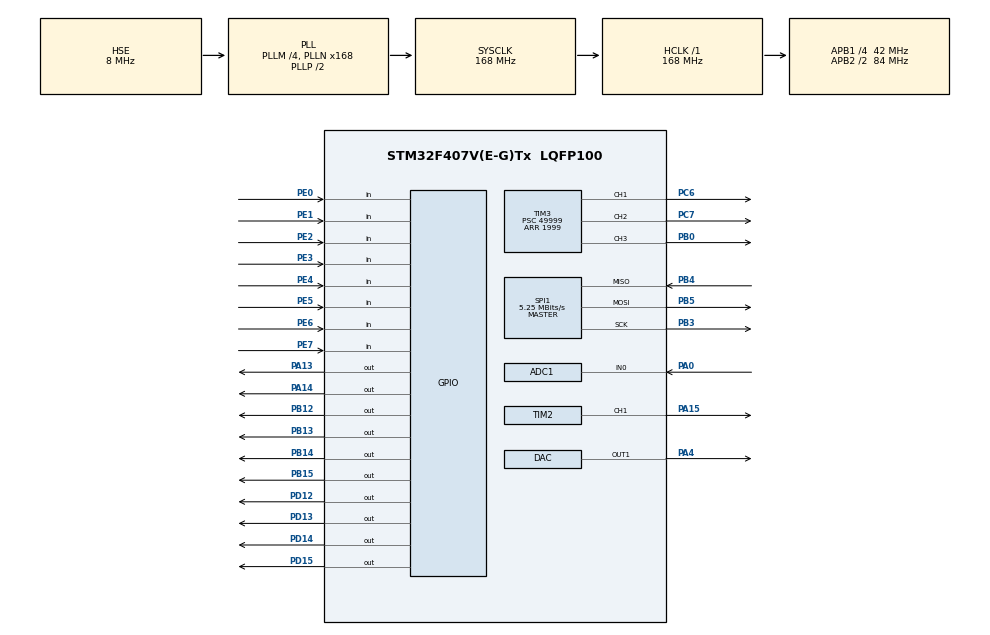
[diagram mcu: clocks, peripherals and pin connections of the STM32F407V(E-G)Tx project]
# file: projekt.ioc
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ADC1.Channel-0\#ChannelRegularConversion=ADC_CHANNEL_0
ADC1.NbrOfConversionFlag=1
ADC1.Rank-0\#ChannelRegularConversion=1
ADC1.SamplingTime-0\#ChannelRegularConversion=ADC_SAMPLETIME_3CYCLES
ADC1.master=1
Mcu.Family=STM32F4
Mcu.Name=STM32F407V(E-G)Tx
Mcu.Package=LQFP100
NVIC.PriorityGroup=NVIC_PRIORITYGROUP_4
NVIC.RCC_IRQn=true\:0\:0\:false\:false\:true\:true\:false
NVIC.TIM3_IRQn=true\:0\:0\:false\:false\:true\:true\:true
NVIC.TIM4_IRQn=true\:0\:0\:false\:false\:true\:true\:true
PA0-WKUP.Signal=ADCx_IN0
PA13.Signal=GPIO_Output
PA14.Signal=GPIO_Output
PA15.Signal=S_TIM2_CH1_ETR
PA4.Signal=COMP_DAC1_group
PB0.Signal=S_TIM3_CH3
PB12.Signal=GPIO_Output
PB13.Signal=GPIO_Output
PB14.Signal=GPIO_Output
PB15.Signal=GPIO_Output
PB3.Mode=Full_Duplex_Master
PB3.Signal=SPI1_SCK
PB4.Mode=Full_Duplex_Master
PB4.Signal=SPI1_MISO
PB5.Mode=Full_Duplex_Master
PB5.Signal=SPI1_MOSI
PC6.Signal=S_TIM3_CH1
PC7.Signal=S_TIM3_CH2
PD12.Signal=GPIO_Output
PD13.Signal=GPIO_Output
PD14.Signal=GPIO_Output
PD15.Signal=GPIO_Output
PE0.GPIO_PuPd=GPIO_PULLUP
PE0.Signal=GPIO_Input
PE1.GPIO_PuPd=GPIO_PULLUP
PE1.Signal=GPIO_Input
PE2.GPIO_PuPd=GPIO_PULLUP
PE2.Signal=GPIO_Input
PE3.GPIO_PuPd=GPIO_PULLUP
PE3.Signal=GPIO_Input
PE4.GPIO_PuPd=GPIO_PULLUP
PE4.Signal=GPIO_Input
PE5.GPIO_PuPd=GPIO_PULLUP
PE5.Signal=GPIO_Input
PE6.GPIO_PuPd=GPIO_PULLUP
PE6.Signal=GPIO_Input
PE7.GPIO_PuPd=GPIO_PULLUP
PE7.Signal=GPIO_Input
PH0-OSC_IN.Mode=HSE-External-Oscillator
PH0-OSC_IN.Signal=RCC_OSC_IN
PH1-OSC_OUT.Mode=HSE-External-Oscillator
PH1-OSC_OUT.Signal=RCC_OSC_OUT
ProjectManager.HeapSize=0x200
ProjectManager.StackSize=0x400
ProjectManager.TargetToolchain=STM32CubeIDE
RCC.48MHZClocksFreq_Value=84000000
RCC.AHBFreq_Value=168000000
RCC.APB1CLKDivider=RCC_HCLK_DIV4
RCC.APB1Freq_Value=42000000
RCC.APB1TimFreq_Value=84000000
RCC.APB2CLKDivider=RCC_HCLK_DIV2
RCC.APB2Freq_Value=84000000
RCC.APB2TimFreq_Value=168000000
RCC.CortexFreq_Value=168000000
RCC.HCLKFreq_Value=168000000
RCC.HSE_VALUE=8000000
RCC.HSI_VALUE=16000000
RCC.LSE_VALUE=32768
RCC.PLLM=4
RCC.PLLN=168
RCC.PLLSourceVirtual=RCC_PLLSOURCE_HSE
RCC.SYSCLKFreq_VALUE=168000000
RCC.SYSCLKSource=RCC_SYSCLKSOURCE_PLLCLK
RCC.VCOOutputFreq_Value=336000000
SH.ADCx_IN0.0=ADC1_IN0,IN0
SH.COMP_DAC1_group.0=DAC_OUT1,DAC_OUT1
SH.S_TIM2_CH1_ETR.0=TIM2_CH1,PWM Generation1 CH1
SH.S_TIM3_CH1.0=TIM3_CH1,PWM Generation1 CH1
SH.S_TIM3_CH2.0=TIM3_CH2,PWM Generation2 CH2
SH.S_TIM3_CH3.0=TIM3_CH3,PWM Generation3 CH3
SPI1.BaudRatePrescaler=SPI_BAUDRATEPRESCALER_16
SPI1.CalculateBaudRate=5.25 MBits/s
SPI1.Direction=SPI_DIRECTION_2LINES
SPI1.Mode=SPI_MODE_MASTER
SPI1.VirtualType=VM_MASTER
TIM2.Channel-PWM\ Generation1\ CH1=TIM_CHANNEL_1
TIM2.Period=20999
TIM2.Prescaler=3999
TIM3.Channel-PWM\ Generation1\ CH1=TIM_CHANNEL_1
TIM3.Channel-PWM\ Generation2\ CH2=TIM_CHANNEL_2
TIM3.Channel-PWM\ Generation3\ CH3=TIM_CHANNEL_3
TIM3.Period=1999
TIM3.Prescaler=49999
TIM4.Period=1999
TIM4.Prescaler=41999
VP_TIM2_VS_ClockSourceINT.Mode=Internal
VP_TIM3_VS_ClockSourceINT.Mode=Internal
VP_TIM4_VS_ClockSourceINT.Mode=Internal
board=custom

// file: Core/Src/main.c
/* USER CODE BEGIN Header */
/**
  ******************************************************************************
  * @file           : main.c
  * @brief          : Main program body
  ******************************************************************************
  * @attention
  *
  * <h2><center>&copy; Copyright (c) 2020 STMicroelectronics.
  * All rights reserved.</center></h2>
  *
  * This software component is licensed by ST under BSD 3-Clause license,
  * the "License"; You may not use this file except in compliance with the
  * License. You may obtain a copy of the License at:
  *                        opensource.org/licenses/BSD-3-Clause
  *
  ******************************************************************************
  */
/* USER CODE END Header */

#include "main.h"

/* USER CODE BEGIN Includes */
#include "ff.h"
extern const uint8_t rawAudio[123200];
/* USER CODE END Includes */

ADC_HandleTypeDef hadc1;

DAC_HandleTypeDef hdac;

SPI_HandleTypeDef hspi1;

TIM_HandleTypeDef htim2;
TIM_HandleTypeDef htim3;
TIM_HandleTypeDef htim4;

/* USER CODE BEGIN PV */
uint16_t adc_value;
volatile int x=0;
volatile int y=0;
volatile int z=100;
volatile int wybor=-1;

/*-------------Zmienne potrzebne do zapisu i odczytu na kacie pamieci-------------------------------*/
/*char buffer[256]; //bufor odczytu i zapisu
static FATFS FatFs; //uchwyt do urządzenia FatFs (dysku, karty SD...)
FRESULT fresult; //do przechowywania wyniku operacji na bibliotece FatFs
FIL file; //uchwyt do otwartego pliku
WORD bytes_written; //liczba zapisanych byte
WORD bytes_read; //liczba odczytanych byte*/
/* USER CODE END PV */

void SystemClock_Config(void);
static void MX_GPIO_Init(void);
static void MX_TIM4_Init(void);
static void MX_TIM3_Init(void);
static void MX_TIM2_Init(void);
static void MX_DAC_Init(void);
static void MX_ADC1_Init(void);
static void MX_SPI1_Init(void);
/* USER CODE BEGIN PFP */
/*---------------------Zapis na karte SD-----------------------*/
/*void writeSD()
{
	fresult = f_mount(&FatFs, "", 0);
	fresult = f_open(&file, "write.txt", FA_OPEN_ALWAYS | FA_WRITE);
	int len = sprintf( buffer, "Hello PTM!\r\n");
	fresult = f_write(&file, buffer, len, &bytes_written);
	fresult = f_close (&file);
}*/

/*---------------------Odczyt na karcie SD-----------------------*/
/*void readSD()
{
	fresult = f_mount(&FatFs, "", 0);
	fresult = f_open(&file, "read.txt", FA_READ);
	fresult = f_read(&file, buffer, 16, &bytes_read);
	fresult = f_close(&file);

}
*/

/*--------------------Odczyt z mikrofonu------------------*/
void HAL_TIM_PeriodElapsedCallback(TIM_HandleTypeDef*htim)
{
	if(htim->Instance== TIM4)
	{
		HAL_ADC_Start(&hadc1);
			  if(HAL_ADC_PollForConversion(&hadc1, 10) == HAL_OK)
			  {
				  adc_value = HAL_ADC_GetValue(&hadc1);
				  x = (2.95/(double)4096) * adc_value;
			  }
	}
}

/*-------------------Konfiguracja diody RGB1----------------------------*/
void rgb1_set(uint8_t red, uint8_t blue, uint8_t green)
{
	htim3.Instance->CCR1=red*2000;
	htim3.Instance->CCR2=blue*2000;
	htim3.Instance->CCR3=green*2000;
}

/*-------------------Ustalenie koloru diody RGB1 zaleznie od przypadku----------------------------*/
void rgb1_set_color()
{
	/*do zrobienia:
	 dac przypadki i oznaczyc kolor*/
	rgb1_set(255,0,0);
	HAL_Delay(100); //wykorzystywane bylo podczas sprawdzania, czy dobrze swieci dioda
	rgb1_set(0,255,0);
	HAL_Delay(100);
	rgb1_set(0,0,255);
	HAL_Delay(100);
	rgb1_set(255,0,255);
	HAL_Delay(100);
	rgb1_set(0,255,255);
	HAL_Delay(100);
	rgb1_set(255,255,0);
}

/*-------------------Konfiguracja diody RGB2----------------------------*/

void rgb2_set(uint8_t red)
{
	htim2.Instance->CCR1=red*2000;
}

/*-------Ustalenie jasnosci diody  RGB2 zaleznie od głosnosci lub czestotliwosci
 *  odbieranego dźwięku------*/
//do zrobienia
void rgb2_set_intensity()
{
rgb2_set(255);

}
//ciag dalszy to nizej skomentowane na chwilke

/*-----Proba ustawienia janosci diody--------------*/
/*void HAL_TIM_PeriodElapsedCallback(TIM_HandleTypeDef*htim)
{
	if(htim->Instance== TIM2)
		{
		rgb2_set(255);
		y=100;
switch(x)
	{

	case 0:
		TIM2->CCR1=2100;
		x++;
		break;
	case 1:
		TIM2->CCR1=2100-2*y;
		x++;
		break;
	case 2:
		TIM2->CCR1=2100-4*y;
			x++;
			break;
	case 3:
		TIM2->CCR1=2100-6*y;
			x++;
			break;
	case 4:
		TIM2->CCR1=2100-8*y;
			x++;
			break;
	case 5:
		TIM2->CCR1=2100-10*y;
			x=0;
			break;
			}
		}
}
*/
/*----------Czytanie z przyciskow---------------*/
void read_bottoms()
{

	  	 if (HAL_GPIO_ReadPin(GPIOE, GPIO_PIN_0)==GPIO_PIN_RESET)
	  	 	  	 			  	  	{wybor=0;}
	  	 if (HAL_GPIO_ReadPin(GPIOE, GPIO_PIN_1)==GPIO_PIN_RESET)
	  	 	  	  	 			  	{wybor=1;}
	  	 if (HAL_GPIO_ReadPin(GPIOE, GPIO_PIN_2)==GPIO_PIN_RESET)
	  		  	  	  	  	 		{wybor=2;}
	  	 if (HAL_GPIO_ReadPin(GPIOE, GPIO_PIN_3)==GPIO_PIN_RESET)
	  		  	  	 	  	  	 	{wybor=3;}
	  	 if (HAL_GPIO_ReadPin(GPIOE, GPIO_PIN_4)==GPIO_PIN_RESET)
	  	  	  	  	  	 			{wybor=4;}
	  	 if (HAL_GPIO_ReadPin(GPIOE, GPIO_PIN_5)==GPIO_PIN_RESET)
	  	  	  	 	  	  	 		{wybor=5;}
	  	 if (HAL_GPIO_ReadPin(GPIOE, GPIO_PIN_6)==GPIO_PIN_RESET)
	  	  	  		  	  	  	  	 {wybor=6;}
	  	 if (HAL_GPIO_ReadPin(GPIOE, GPIO_PIN_7)==GPIO_PIN_RESET)
	  	  	  		  	  	 	  	 {wybor=7;}

	  switch(wybor)
	  	  {				case 0: { HAL_GPIO_WritePin(GPIOD, GPIO_PIN_12, SET); break;}
	  	  				case 1: { HAL_GPIO_WritePin(GPIOD, GPIO_PIN_12, RESET); break;}
	  	  				case 2: { HAL_GPIO_WritePin(GPIOD, GPIO_PIN_13, SET); break;}
	  	  				case 3: { HAL_GPIO_WritePin(GPIOD, GPIO_PIN_13, RESET); break;}
	  	  	  	  	  	case 4: { HAL_GPIO_WritePin(GPIOD, GPIO_PIN_14, SET); break;}
		  	  	  	case 5: { HAL_GPIO_WritePin(GPIOD, GPIO_PIN_14, RESET); break;}
	  					case 6: { HAL_GPIO_WritePin(GPIOD, GPIO_PIN_15, SET); break;}
	  					case 7: { HAL_GPIO_WritePin(GPIOD, GPIO_PIN_15, RESET); break;}
	  					default: {HAL_GPIO_WritePin(GPIOD, GPIO_PIN_12|GPIO_PIN_13|GPIO_PIN_14|GPIO_PIN_15, RESET);
	  					break;}

	  	  }
}

/* USER CODE END PFP */

int main(void)
{

  /* MCU Configuration--------------------------------------------------------*/

  /* Reset of all peripherals, Initializes the Flash interface and the Systick. */
  HAL_Init();

  /* Configure the system clock */
  SystemClock_Config();

  /* Initialize all configured peripherals */
  MX_GPIO_Init();
  MX_TIM4_Init();
  MX_TIM3_Init();
  MX_TIM2_Init();
  MX_DAC_Init();
  MX_ADC1_Init();
  MX_SPI1_Init();
  /* USER CODE BEGIN 2 */
HAL_TIM_PWM_Start(&htim3, TIM_CHANNEL_1);
HAL_TIM_PWM_Start(&htim3, TIM_CHANNEL_2);
HAL_TIM_PWM_Start(&htim3, TIM_CHANNEL_3);
HAL_TIM_PWM_Start(&htim2, TIM_CHANNEL_1);
HAL_DAC_Start(&hdac,DAC_CHANNEL_1);
  /* USER CODE END 2 */

  /* Infinite loop */
  /* USER CODE BEGIN WHILE */
  while (1)
  {
	  HAL_DAC_SetValue(&hdac,DAC_CHANNEL_1,DAC_ALIGN_12B_R,2048);
    /* USER CODE END WHILE */

    /* USER CODE BEGIN 3 */

	  // writeSD();
	 // readSD();

	  rgb1_set_color();

  }
  /* USER CODE END 3 */
}

void SystemClock_Config(void)
{
  RCC_OscInitTypeDef RCC_OscInitStruct = {0};
  RCC_ClkInitTypeDef RCC_ClkInitStruct = {0};

  /** Configure the main internal regulator output voltage
  */
  __HAL_RCC_PWR_CLK_ENABLE();
  __HAL_PWR_VOLTAGESCALING_CONFIG(PWR_REGULATOR_VOLTAGE_SCALE1);
  /** Initializes the CPU, AHB and APB busses clocks
  */
  RCC_OscInitStruct.OscillatorType = RCC_OSCILLATORTYPE_HSE;
  RCC_OscInitStruct.HSEState = RCC_HSE_ON;
  RCC_OscInitStruct.PLL.PLLState = RCC_PLL_ON;
  RCC_OscInitStruct.PLL.PLLSource = RCC_PLLSOURCE_HSE;
  RCC_OscInitStruct.PLL.PLLM = 4;
  RCC_OscInitStruct.PLL.PLLN = 168;
  RCC_OscInitStruct.PLL.PLLP = RCC_PLLP_DIV2;
  RCC_OscInitStruct.PLL.PLLQ = 4;
  if (HAL_RCC_OscConfig(&RCC_OscInitStruct) != HAL_OK)
  {
    Error_Handler();
  }
  /** Initializes the CPU, AHB and APB busses clocks
  */
  RCC_ClkInitStruct.ClockType = RCC_CLOCKTYPE_HCLK|RCC_CLOCKTYPE_SYSCLK
                              |RCC_CLOCKTYPE_PCLK1|RCC_CLOCKTYPE_PCLK2;
  RCC_ClkInitStruct.SYSCLKSource = RCC_SYSCLKSOURCE_PLLCLK;
  RCC_ClkInitStruct.AHBCLKDivider = RCC_SYSCLK_DIV1;
  RCC_ClkInitStruct.APB1CLKDivider = RCC_HCLK_DIV4;
  RCC_ClkInitStruct.APB2CLKDivider = RCC_HCLK_DIV2;

  if (HAL_RCC_ClockConfig(&RCC_ClkInitStruct, FLASH_LATENCY_5) != HAL_OK)
  {
    Error_Handler();
  }
}

static void MX_ADC1_Init(void)
{

  ADC_ChannelConfTypeDef sConfig = {0};

  /** Configure the global features of the ADC (Clock, Resolution, Data Alignment and number of conversion)
  */
  hadc1.Instance = ADC1;
  hadc1.Init.ClockPrescaler = ADC_CLOCK_SYNC_PCLK_DIV4;
  hadc1.Init.Resolution = ADC_RESOLUTION_12B;
  hadc1.Init.ScanConvMode = DISABLE;
  hadc1.Init.ContinuousConvMode = DISABLE;
  hadc1.Init.DiscontinuousConvMode = DISABLE;
  hadc1.Init.ExternalTrigConvEdge = ADC_EXTERNALTRIGCONVEDGE_NONE;
  hadc1.Init.ExternalTrigConv = ADC_SOFTWARE_START;
  hadc1.Init.DataAlign = ADC_DATAALIGN_RIGHT;
  hadc1.Init.NbrOfConversion = 1;
  hadc1.Init.DMAContinuousRequests = DISABLE;
  hadc1.Init.EOCSelection = ADC_EOC_SINGLE_CONV;
  if (HAL_ADC_Init(&hadc1) != HAL_OK)
  {
    Error_Handler();
  }
  /** Configure for the selected ADC regular channel its corresponding rank in the sequencer and its sample time.
  */
  sConfig.Channel = ADC_CHANNEL_0;
  sConfig.Rank = 1;
  sConfig.SamplingTime = ADC_SAMPLETIME_3CYCLES;
  if (HAL_ADC_ConfigChannel(&hadc1, &sConfig) != HAL_OK)
  {
    Error_Handler();
  }

}

static void MX_DAC_Init(void)
{

  DAC_ChannelConfTypeDef sConfig = {0};

  /** DAC Initialization
  */
  hdac.Instance = DAC;
  if (HAL_DAC_Init(&hdac) != HAL_OK)
  {
    Error_Handler();
  }
  /** DAC channel OUT1 config
  */
  sConfig.DAC_Trigger = DAC_TRIGGER_NONE;
  sConfig.DAC_OutputBuffer = DAC_OUTPUTBUFFER_ENABLE;
  if (HAL_DAC_ConfigChannel(&hdac, &sConfig, DAC_CHANNEL_1) != HAL_OK)
  {
    Error_Handler();
  }

}

static void MX_SPI1_Init(void)
{

  /* SPI1 parameter configuration*/
  hspi1.Instance = SPI1;
  hspi1.Init.Mode = SPI_MODE_MASTER;
  hspi1.Init.Direction = SPI_DIRECTION_2LINES;
  hspi1.Init.DataSize = SPI_DATASIZE_8BIT;
  hspi1.Init.CLKPolarity = SPI_POLARITY_LOW;
  hspi1.Init.CLKPhase = SPI_PHASE_1EDGE;
  hspi1.Init.NSS = SPI_NSS_SOFT;
  hspi1.Init.BaudRatePrescaler = SPI_BAUDRATEPRESCALER_16;
  hspi1.Init.FirstBit = SPI_FIRSTBIT_MSB;
  hspi1.Init.TIMode = SPI_TIMODE_DISABLE;
  hspi1.Init.CRCCalculation = SPI_CRCCALCULATION_DISABLE;
  hspi1.Init.CRCPolynomial = 10;
  if (HAL_SPI_Init(&hspi1) != HAL_OK)
  {
    Error_Handler();
  }

}

static void MX_TIM2_Init(void)
{

  TIM_ClockConfigTypeDef sClockSourceConfig = {0};
  TIM_MasterConfigTypeDef sMasterConfig = {0};
  TIM_OC_InitTypeDef sConfigOC = {0};

  htim2.Instance = TIM2;
  htim2.Init.Prescaler = 3999;
  htim2.Init.CounterMode = TIM_COUNTERMODE_UP;
  htim2.Init.Period = 20999;
  htim2.Init.ClockDivision = TIM_CLOCKDIVISION_DIV1;
  htim2.Init.AutoReloadPreload = TIM_AUTORELOAD_PRELOAD_DISABLE;
  if (HAL_TIM_Base_Init(&htim2) != HAL_OK)
  {
    Error_Handler();
  }
  sClockSourceConfig.ClockSource = TIM_CLOCKSOURCE_INTERNAL;
  if (HAL_TIM_ConfigClockSource(&htim2, &sClockSourceConfig) != HAL_OK)
  {
    Error_Handler();
  }
  if (HAL_TIM_PWM_Init(&htim2) != HAL_OK)
  {
    Error_Handler();
  }
  sMasterConfig.MasterOutputTrigger = TIM_TRGO_RESET;
  sMasterConfig.MasterSlaveMode = TIM_MASTERSLAVEMODE_DISABLE;
  if (HAL_TIMEx_MasterConfigSynchronization(&htim2, &sMasterConfig) != HAL_OK)
  {
    Error_Handler();
  }
  sConfigOC.OCMode = TIM_OCMODE_PWM1;
  sConfigOC.Pulse = 0;
  sConfigOC.OCPolarity = TIM_OCPOLARITY_HIGH;
  sConfigOC.OCFastMode = TIM_OCFAST_DISABLE;
  if (HAL_TIM_PWM_ConfigChannel(&htim2, &sConfigOC, TIM_CHANNEL_1) != HAL_OK)
  {
    Error_Handler();
  }
  HAL_TIM_MspPostInit(&htim2);

}

static void MX_TIM3_Init(void)
{

  TIM_ClockConfigTypeDef sClockSourceConfig = {0};
  TIM_MasterConfigTypeDef sMasterConfig = {0};
  TIM_OC_InitTypeDef sConfigOC = {0};

  htim3.Instance = TIM3;
  htim3.Init.Prescaler = 49999;
  htim3.Init.CounterMode = TIM_COUNTERMODE_UP;
  htim3.Init.Period = 1999;
  htim3.Init.ClockDivision = TIM_CLOCKDIVISION_DIV1;
  htim3.Init.AutoReloadPreload = TIM_AUTORELOAD_PRELOAD_DISABLE;
  if (HAL_TIM_Base_Init(&htim3) != HAL_OK)
  {
    Error_Handler();
  }
  sClockSourceConfig.ClockSource = TIM_CLOCKSOURCE_INTERNAL;
  if (HAL_TIM_ConfigClockSource(&htim3, &sClockSourceConfig) != HAL_OK)
  {
    Error_Handler();
  }
  if (HAL_TIM_PWM_Init(&htim3) != HAL_OK)
  {
    Error_Handler();
  }
  sMasterConfig.MasterOutputTrigger = TIM_TRGO_RESET;
  sMasterConfig.MasterSlaveMode = TIM_MASTERSLAVEMODE_DISABLE;
  if (HAL_TIMEx_MasterConfigSynchronization(&htim3, &sMasterConfig) != HAL_OK)
  {
    Error_Handler();
  }
  sConfigOC.OCMode = TIM_OCMODE_PWM1;
  sConfigOC.Pulse = 0;
  sConfigOC.OCPolarity = TIM_OCPOLARITY_HIGH;
  sConfigOC.OCFastMode = TIM_OCFAST_DISABLE;
  if (HAL_TIM_PWM_ConfigChannel(&htim3, &sConfigOC, TIM_CHANNEL_1) != HAL_OK)
  {
    Error_Handler();
  }
  if (HAL_TIM_PWM_ConfigChannel(&htim3, &sConfigOC, TIM_CHANNEL_2) != HAL_OK)
  {
    Error_Handler();
  }
  if (HAL_TIM_PWM_ConfigChannel(&htim3, &sConfigOC, TIM_CHANNEL_3) != HAL_OK)
  {
    Error_Handler();
  }
  HAL_TIM_MspPostInit(&htim3);

}

static void MX_TIM4_Init(void)
{

  TIM_ClockConfigTypeDef sClockSourceConfig = {0};
  TIM_MasterConfigTypeDef sMasterConfig = {0};

  htim4.Instance = TIM4;
  htim4.Init.Prescaler = 41999;
  htim4.Init.CounterMode = TIM_COUNTERMODE_UP;
  htim4.Init.Period = 1999;
  htim4.Init.ClockDivision = TIM_CLOCKDIVISION_DIV1;
  htim4.Init.AutoReloadPreload = TIM_AUTORELOAD_PRELOAD_DISABLE;
  if (HAL_TIM_Base_Init(&htim4) != HAL_OK)
  {
    Error_Handler();
  }
  sClockSourceConfig.ClockSource = TIM_CLOCKSOURCE_INTERNAL;
  if (HAL_TIM_ConfigClockSource(&htim4, &sClockSourceConfig) != HAL_OK)
  {
    Error_Handler();
  }
  sMasterConfig.MasterOutputTrigger = TIM_TRGO_RESET;
  sMasterConfig.MasterSlaveMode = TIM_MASTERSLAVEMODE_DISABLE;
  if (HAL_TIMEx_MasterConfigSynchronization(&htim4, &sMasterConfig) != HAL_OK)
  {
    Error_Handler();
  }

}

static void MX_GPIO_Init(void)
{
  GPIO_InitTypeDef GPIO_InitStruct = {0};

  /* GPIO Ports Clock Enable */
  __HAL_RCC_GPIOE_CLK_ENABLE();
  __HAL_RCC_GPIOH_CLK_ENABLE();
  __HAL_RCC_GPIOA_CLK_ENABLE();
  __HAL_RCC_GPIOB_CLK_ENABLE();
  __HAL_RCC_GPIOD_CLK_ENABLE();
  __HAL_RCC_GPIOC_CLK_ENABLE();

  /*Configure GPIO pin Output Level */
  HAL_GPIO_WritePin(GPIOB, GPIO_PIN_12|GPIO_PIN_13|GPIO_PIN_14|GPIO_PIN_15, GPIO_PIN_RESET);

  /*Configure GPIO pin Output Level */
  HAL_GPIO_WritePin(GPIOD, GPIO_PIN_12|GPIO_PIN_13|GPIO_PIN_14|GPIO_PIN_15, GPIO_PIN_RESET);

  /*Configure GPIO pin Output Level */
  HAL_GPIO_WritePin(GPIOA, GPIO_PIN_13|GPIO_PIN_14, GPIO_PIN_RESET);

  /*Configure GPIO pins : PE2 PE3 PE4 PE5
                           PE6 PE7 PE0 PE1 */
  GPIO_InitStruct.Pin = GPIO_PIN_2|GPIO_PIN_3|GPIO_PIN_4|GPIO_PIN_5
                          |GPIO_PIN_6|GPIO_PIN_7|GPIO_PIN_0|GPIO_PIN_1;
  GPIO_InitStruct.Mode = GPIO_MODE_INPUT;
  GPIO_InitStruct.Pull = GPIO_PULLUP;
  HAL_GPIO_Init(GPIOE, &GPIO_InitStruct);

  /*Configure GPIO pins : PB12 PB13 PB14 PB15 */
  GPIO_InitStruct.Pin = GPIO_PIN_12|GPIO_PIN_13|GPIO_PIN_14|GPIO_PIN_15;
  GPIO_InitStruct.Mode = GPIO_MODE_OUTPUT_PP;
  GPIO_InitStruct.Pull = GPIO_NOPULL;
  GPIO_InitStruct.Speed = GPIO_SPEED_FREQ_LOW;
  HAL_GPIO_Init(GPIOB, &GPIO_InitStruct);

  /*Configure GPIO pins : PD12 PD13 PD14 PD15 */
  GPIO_InitStruct.Pin = GPIO_PIN_12|GPIO_PIN_13|GPIO_PIN_14|GPIO_PIN_15;
  GPIO_InitStruct.Mode = GPIO_MODE_OUTPUT_PP;
  GPIO_InitStruct.Pull = GPIO_NOPULL;
  GPIO_InitStruct.Speed = GPIO_SPEED_FREQ_LOW;
  HAL_GPIO_Init(GPIOD, &GPIO_InitStruct);

  /*Configure GPIO pins : PA13 PA14 */
  GPIO_InitStruct.Pin = GPIO_PIN_13|GPIO_PIN_14;
  GPIO_InitStruct.Mode = GPIO_MODE_OUTPUT_PP;
  GPIO_InitStruct.Pull = GPIO_NOPULL;
  GPIO_InitStruct.Speed = GPIO_SPEED_FREQ_LOW;
  HAL_GPIO_Init(GPIOA, &GPIO_InitStruct);

}

void Error_Handler(void)
{
}

/************************ (C) COPYRIGHT STMicroelectronics *****END OF FILE****/
